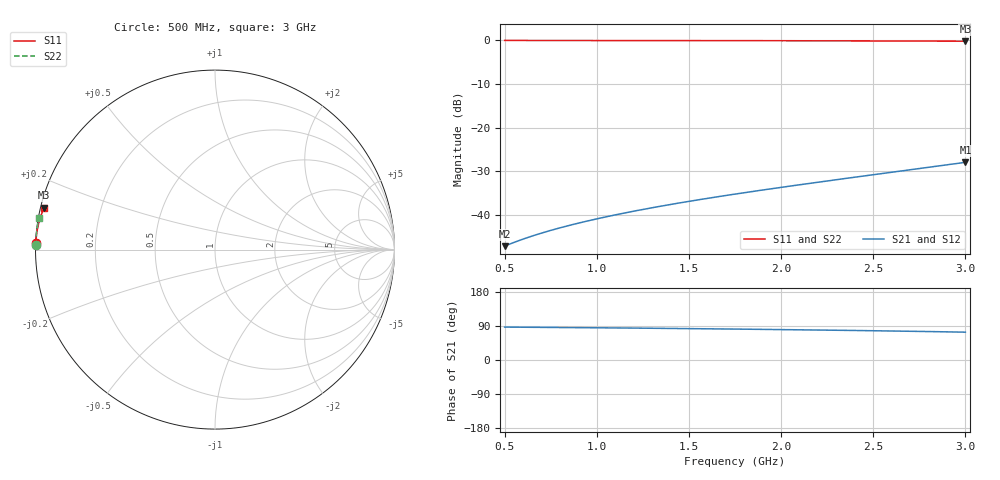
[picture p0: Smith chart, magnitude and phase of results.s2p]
! rfsim (KiCad + openEMS)
# HZ S RI R 50
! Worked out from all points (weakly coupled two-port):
!   251 points, 500 MHz to 3 GHz, reference 50 ohm
!   highest |S21| = -27.91 dB at 3 GHz (marker M1); lowest = -47.1 dB at 500 MHz (marker M2)
!   lowest |S11| = -0.2 dB at 3 GHz (marker M3), VSWR 95.20, Z = 0.533 + j6.06 ohm
!   |S11| at or under -10 dB: nowhere
!   |S22| runs from 0.0 to 0.0 dB; largest |S21 - S12| = 0.00094
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5e8  -0.9987 0.036  0.000242 0.00441  0.000255 0.00441  -0.999 0.0273
5.4e8  -0.9985 0.0389  0.000272 0.00477  0.000278 0.00476  -0.999 0.0295
5.9e8  -0.9983 0.0425  0.000313 0.00522  0.000308 0.00521  -0.9989 0.0322
6.4e8  -0.998 0.0461  0.000357 0.00567  0.00034 0.00566  -0.9988 0.0349
6.9e8  -0.9977 0.0497  0.000404 0.00612  0.000375 0.00611  -0.9988 0.0376
7.4e8  -0.9974 0.0533  0.000454 0.00658  0.000415 0.00657  -0.9987 0.0403
8e8  -0.997 0.0576  0.000518 0.00713  0.000468 0.00713  -0.9985 0.0436
8.6e8  -0.9966 0.062  0.000589 0.00769  0.000528 0.0077  -0.9984 0.0469
9.2e8  -0.9962 0.0663  0.000665 0.00826  0.000595 0.00827  -0.9982 0.0502
1.02e9  -0.9954 0.0737  0.000807 0.00923  0.000722 0.00924  -0.9978 0.0558
1.12e9  -0.9945 0.081  0.000968 0.0102  0.00087 0.0102  -0.9974 0.0613
1.23e9  -0.9934 0.0892  0.00117 0.0113  0.00105 0.0114  -0.9969 0.0675
1.34e9  -0.9922 0.0974  0.0014 0.0125  0.00127 0.0125  -0.9964 0.0737
1.43e9  -0.9911 0.1042  0.00161 0.0135  0.00146 0.0135  -0.9959 0.0788
1.53e9  -0.9897 0.1118  0.00187 0.0146  0.00169 0.0147  -0.9953 0.0844
1.64e9  -0.9881 0.1203  0.00219 0.0159  0.00198 0.016  -0.9947 0.0907
1.75e9  -0.9863 0.1288  0.00254 0.0172  0.0023 0.0173  -0.994 0.0971
1.94e9  -0.9829 0.1436  0.00325 0.0197  0.00296 0.0198  -0.9926 0.1082
2.17e9  -0.978 0.1621  0.00433 0.0229  0.00395 0.0231  -0.9907 0.1221
2.59e9  -0.9665 0.1975  0.00711 0.03  0.00657 0.0303  -0.9861 0.1484
2.8e9  -0.9591 0.2159  0.00908 0.0341  0.00845 0.0345  -0.9833 0.162
3e9  -0.9508 0.2341  0.0115 0.0385  0.0107 0.0391  -0.9803 0.1756
